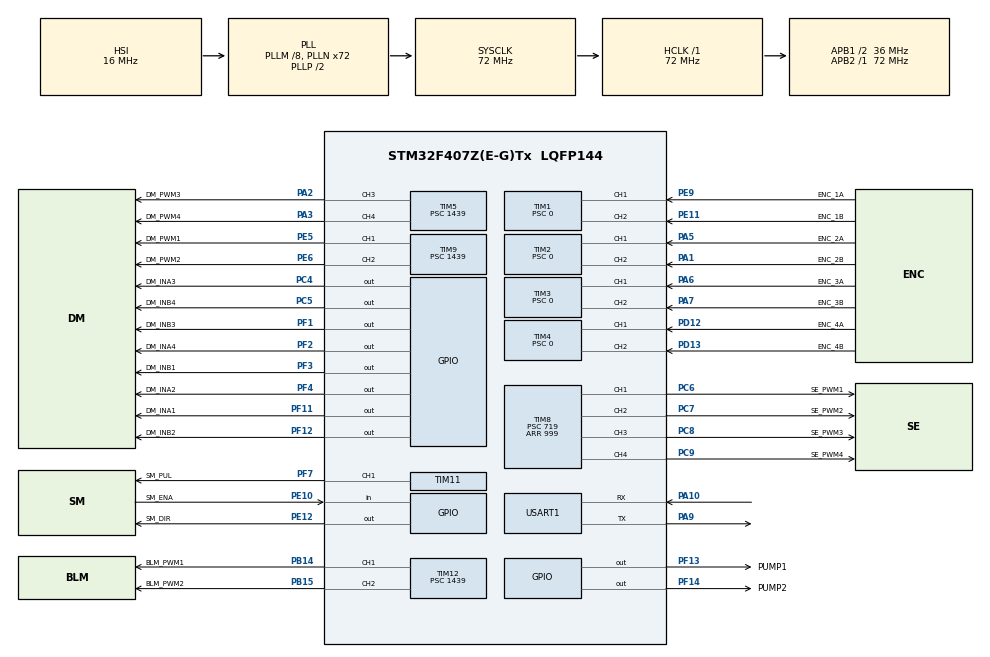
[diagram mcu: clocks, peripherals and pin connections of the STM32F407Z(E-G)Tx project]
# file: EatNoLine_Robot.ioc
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Mcu.Family=STM32F4
Mcu.Name=STM32F407Z(E-G)Tx
Mcu.Package=LQFP144
NVIC.PriorityGroup=NVIC_PRIORITYGROUP_4
NVIC.TIM1_BRK_TIM9_IRQn=true\:2\:0\:true\:false\:true\:true\:true\:true
NVIC.TIM1_CC_IRQn=true\:2\:0\:true\:false\:true\:true\:true\:true
NVIC.TIM1_TRG_COM_TIM11_IRQn=true\:2\:0\:true\:false\:true\:true\:true\:true
NVIC.TIM1_UP_TIM10_IRQn=true\:2\:0\:true\:false\:true\:true\:true\:true
NVIC.TIM2_IRQn=true\:2\:0\:true\:false\:true\:true\:true\:true
NVIC.TIM3_IRQn=true\:2\:0\:true\:false\:true\:true\:true\:true
NVIC.TIM4_IRQn=true\:2\:0\:true\:false\:true\:true\:true\:true
NVIC.TIM5_IRQn=true\:0\:0\:false\:false\:true\:true\:true\:true
NVIC.TIM8_BRK_TIM12_IRQn=true\:2\:0\:true\:false\:true\:true\:true\:true
NVIC.TIM8_CC_IRQn=true\:2\:0\:true\:false\:true\:true\:true\:true
NVIC.TIM8_TRG_COM_TIM14_IRQn=true\:2\:0\:true\:false\:true\:true\:true\:true
NVIC.TIM8_UP_TIM13_IRQn=true\:2\:0\:true\:false\:true\:true\:true\:true
NVIC.USART1_IRQn=true\:2\:0\:true\:false\:true\:true\:true\:true
PA1.GPIO_Label=ENC_2B
PA1.GPIO_Speed=GPIO_SPEED_FREQ_HIGH
PA1.Signal=S_TIM2_CH2
PA10.Mode=Asynchronous
PA10.Signal=USART1_RX
PA13.Mode=Serial_Wire
PA13.Signal=SYS_JTMS-SWDIO
PA14.Mode=Serial_Wire
PA14.Signal=SYS_JTCK-SWCLK
PA2.GPIO_Label=DM_PWM3
PA2.Signal=S_TIM5_CH3
PA3.GPIO_Label=DM_PWM4
PA3.GPIO_Speed=GPIO_SPEED_FREQ_HIGH
PA3.Signal=S_TIM5_CH4
PA5.GPIO_Label=ENC_2A
PA5.GPIO_Speed=GPIO_SPEED_FREQ_HIGH
PA5.Signal=S_TIM2_CH1_ETR
PA6.GPIO_Label=ENC_3A
PA6.GPIO_Speed=GPIO_SPEED_FREQ_HIGH
PA6.Signal=S_TIM3_CH1
PA7.GPIO_Label=ENC_3B
PA7.GPIO_Speed=GPIO_SPEED_FREQ_HIGH
PA7.Signal=S_TIM3_CH2
PA9.Mode=Asynchronous
PA9.Signal=USART1_TX
PB14.GPIO_Label=BLM_PWM1
PB14.Signal=S_TIM12_CH1
PB15.GPIO_Label=BLM_PWM2
PB15.Signal=S_TIM12_CH2
PC14-OSC32_IN.Mode=LSE-External-Clock-Source
PC14-OSC32_IN.Signal=RCC_OSC32_IN
PC15-OSC32_OUT.Mode=LSE-External-Clock-Source
PC15-OSC32_OUT.Signal=RCC_OSC32_OUT
PC4.GPIO_Label=DM_INA3
PC4.GPIO_Speed=GPIO_SPEED_FREQ_HIGH
PC4.Signal=GPIO_Output
PC5.GPIO_Label=DM_INB4
PC5.GPIO_Speed=GPIO_SPEED_FREQ_HIGH
PC5.Signal=GPIO_Output
PC6.GPIO_Label=SE_PWM1
PC6.GPIO_Speed=GPIO_SPEED_FREQ_HIGH
PC6.Signal=S_TIM8_CH1
PC7.GPIO_Label=SE_PWM2
PC7.GPIO_Speed=GPIO_SPEED_FREQ_HIGH
PC7.Signal=S_TIM8_CH2
PC8.GPIO_Label=SE_PWM3
PC8.GPIO_Speed=GPIO_SPEED_FREQ_HIGH
PC8.Signal=S_TIM8_CH3
PC9.GPIO_Label=SE_PWM4
PC9.GPIO_Speed=GPIO_SPEED_FREQ_HIGH
PC9.Signal=S_TIM8_CH4
PD12.GPIO_Label=ENC_4A
PD12.GPIO_Speed=GPIO_SPEED_FREQ_HIGH
PD12.Signal=S_TIM4_CH1
PD13.GPIO_Label=ENC_4B
PD13.GPIO_Speed=GPIO_SPEED_FREQ_HIGH
PD13.Signal=S_TIM4_CH2
PE10.GPIO_Label=SM_ENA
PE10.Signal=GPIO_Input
PE11.GPIO_Label=ENC_1B
PE11.GPIO_Speed=GPIO_SPEED_FREQ_HIGH
PE11.Signal=S_TIM1_CH2
PE12.GPIO_Label=SM_DIR
PE12.Signal=GPIO_Output
PE5.GPIO_Label=DM_PWM1
PE5.Signal=S_TIM9_CH1
PE6.GPIO_Label=DM_PWM2
PE6.GPIO_Speed=GPIO_SPEED_FREQ_HIGH
PE6.Signal=S_TIM9_CH2
PE9.GPIO_Label=ENC_1A
PE9.GPIO_Speed=GPIO_SPEED_FREQ_HIGH
PE9.Signal=S_TIM1_CH1
PF1.GPIO_Label=DM_INB3
PF1.GPIO_Speed=GPIO_SPEED_FREQ_HIGH
PF1.Signal=GPIO_Output
PF11.GPIO_Label=DM_INA1
PF11.GPIO_Speed=GPIO_SPEED_FREQ_HIGH
PF11.Signal=GPIO_Output
PF12.GPIO_Label=DM_INB2
PF12.GPIO_Speed=GPIO_SPEED_FREQ_HIGH
PF12.Signal=GPIO_Output
PF13.GPIO_Label=PUMP1
PF13.Signal=GPIO_Output
PF14.GPIO_Label=PUMP2
PF14.Signal=GPIO_Output
PF2.GPIO_Label=DM_INA4
PF2.GPIO_Speed=GPIO_SPEED_FREQ_HIGH
PF2.Signal=GPIO_Output
PF3.GPIO_Label=DM_INB1
PF3.GPIO_Speed=GPIO_SPEED_FREQ_HIGH
PF3.Signal=GPIO_Output
PF4.GPIO_Label=DM_INA2
PF4.GPIO_Speed=GPIO_SPEED_FREQ_HIGH
PF4.Signal=GPIO_Output
PF7.GPIO_Label=SM_PUL
PF7.GPIO_Speed=GPIO_SPEED_FREQ_HIGH
PF7.Signal=S_TIM11_CH1
PH0-OSC_IN.Mode=HSE-External-Clock-Source
PH0-OSC_IN.Signal=RCC_OSC_IN
PH1-OSC_OUT.Mode=HSE-External-Clock-Source
PH1-OSC_OUT.Signal=RCC_OSC_OUT
ProjectManager.HeapSize=0x200
ProjectManager.StackSize=0x400
ProjectManager.TargetToolchain=CMake
RCC.48MHZClocksFreq_Value=36000000
RCC.AHBFreq_Value=72000000
RCC.APB1CLKDivider=RCC_HCLK_DIV2
RCC.APB1Freq_Value=36000000
RCC.APB1TimFreq_Value=72000000
RCC.APB2Freq_Value=72000000
RCC.APB2TimFreq_Value=72000000
RCC.CortexFreq_Value=72000000
RCC.HCLKFreq_Value=72000000
RCC.HSE_VALUE=8000000
RCC.HSI_VALUE=16000000
RCC.LSE_VALUE=32768
RCC.PLLM=8
RCC.PLLN=72
RCC.SYSCLKFreq_VALUE=72000000
RCC.SYSCLKSource=RCC_SYSCLKSOURCE_PLLCLK
RCC.VCOOutputFreq_Value=144000000
SH.S_TIM11_CH1.0=TIM11_CH1,PWM Generation1 CH1
SH.S_TIM12_CH1.0=TIM12_CH1,PWM Generation1 CH1
SH.S_TIM12_CH2.0=TIM12_CH2,PWM Generation2 CH2
SH.S_TIM1_CH1.0=TIM1_CH1,Encoder_Interface
SH.S_TIM1_CH2.0=TIM1_CH2,Encoder_Interface
SH.S_TIM2_CH1_ETR.0=TIM2_CH1,Encoder_Interface
SH.S_TIM2_CH2.0=TIM2_CH2,Encoder_Interface
SH.S_TIM3_CH1.0=TIM3_CH1,Encoder_Interface
SH.S_TIM3_CH2.0=TIM3_CH2,Encoder_Interface
SH.S_TIM4_CH1.0=TIM4_CH1,Encoder_Interface
SH.S_TIM4_CH2.0=TIM4_CH2,Encoder_Interface
SH.S_TIM5_CH3.0=TIM5_CH3,PWM Generation3 CH3
SH.S_TIM5_CH4.0=TIM5_CH4,PWM Generation4 CH4
SH.S_TIM8_CH1.0=TIM8_CH1,PWM Generation1 CH1
SH.S_TIM8_CH2.0=TIM8_CH2,PWM Generation2 CH2
SH.S_TIM8_CH3.0=TIM8_CH3,PWM Generation3 CH3
SH.S_TIM8_CH4.0=TIM8_CH4,PWM Generation4 CH4
SH.S_TIM9_CH1.0=TIM9_CH1,PWM Generation1 CH1
SH.S_TIM9_CH2.0=TIM9_CH2,PWM Generation2 CH2
TIM1.EncoderMode=TIM_ENCODERMODE_TI12
TIM1.IC1Filter=5
TIM1.IC2Filter=5
TIM1.Period=9999
TIM1.Prescaler=0
TIM11.Channel=TIM_CHANNEL_1
TIM11.Period=199
TIM11.Prescaler=23
TIM12.Channel-PWM\ Generation1\ CH1=TIM_CHANNEL_1
TIM12.Channel-PWM\ Generation2\ CH2=TIM_CHANNEL_2
TIM12.Period=999
TIM12.Prescaler=1439
TIM14.Period=999
TIM14.Prescaler=7199
TIM2.EncoderMode=TIM_ENCODERMODE_TI12
TIM2.IC1Filter=5
TIM2.IC2Filter=5
TIM2.Period=9999
TIM2.Prescaler=0
TIM3.EncoderMode=TIM_ENCODERMODE_TI12
TIM3.IC1Filter=5
TIM3.IC2Filter=5
TIM3.Period=9999
TIM3.Prescaler=0
TIM4.EncoderMode=TIM_ENCODERMODE_TI12
TIM4.IC1Filter=5
TIM4.IC2Filter=5
TIM4.Period=9999
TIM4.Prescaler=0
TIM5.Channel-PWM\ Generation3\ CH3=TIM_CHANNEL_3
TIM5.Channel-PWM\ Generation4\ CH4=TIM_CHANNEL_4
TIM5.Period=999
TIM5.Prescaler=1439
TIM8.Channel-PWM\ Generation1\ CH1=TIM_CHANNEL_1
TIM8.Channel-PWM\ Generation2\ CH2=TIM_CHANNEL_2
TIM8.Channel-PWM\ Generation3\ CH3=TIM_CHANNEL_3
TIM8.Channel-PWM\ Generation4\ CH4=TIM_CHANNEL_4
TIM8.Period=999
TIM8.Prescaler=719
TIM9.Channel-PWM\ Generation1\ CH1=TIM_CHANNEL_1
TIM9.Channel-PWM\ Generation2\ CH2=TIM_CHANNEL_2
TIM9.Period=999
TIM9.Prescaler=1439
USART1.VirtualMode=VM_ASYNC
VP_TIM11_VS_ClockSourceINT.Mode=Enable_Timer
VP_TIM12_VS_ClockSourceINT.Mode=Internal
VP_TIM14_VS_ClockSourceINT.Mode=Enable_Timer
VP_TIM5_VS_ClockSourceINT.Mode=Internal
VP_TIM8_VS_ClockSourceINT.Mode=Internal
VP_TIM9_VS_ClockSourceINT.Mode=Internal
board=custom

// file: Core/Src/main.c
/* USER CODE BEGIN Header */
/**
 ******************************************************************************
 * @file           : main.c
 * @brief          : Main program body
 ******************************************************************************
 * @attention
 *
 * Copyright (c) 2024 STMicroelectronics.
 * All rights reserved.
 *
 * This software is licensed under terms that can be found in the LICENSE file
 * in the root directory of this software component.
 * If no LICENSE file comes with this software, it is provided AS-IS.
 *
 ******************************************************************************
 */
/* USER CODE END Header */
#include "main.h"
#include "tim.h"
#include "usart.h"
#include "gpio.h"

/* USER CODE BEGIN Includes */
#include <stdio.h>
#include <vofa.h>

#include "arm_control.h"
#include "bldc_control.h"
#include "communicate.h"
#include "motor_control.h"
#include "pump_control.h"
#include "step_control.h"
// #include "pid.h"
/* USER CODE END Includes */

/* USER CODE BEGIN PD */
#ifdef __GNUC__
#define PUTCHAR_PROTOTYPE int __io_putchar(int ch)
#define GETCHAR_PROTOTYPE int __io_getchar(void)
#else
#define PUTCHAR_PROTOTYPE int fputc(int ch, FILE *f)
#define GETCHAR_PROTOTYPE int fgetc(FILE *f)
#endif

#define RXBUFFERSIZE 256
/* USER CODE END PD */

/* USER CODE BEGIN PV */

// serial community
char RxBuffer[RXBUFFERSIZE];
/* USER CODE END PV */

void SystemClock_Config(void);

int main(void)
{

  /* MCU Configuration--------------------------------------------------------*/

  /* Reset of all peripherals, Initializes the Flash interface and the Systick. */
  HAL_Init();

  /* Configure the system clock */
  SystemClock_Config();

  /* Initialize all configured peripherals */
  MX_GPIO_Init();
  MX_USART1_UART_Init();
  MX_TIM1_Init();
  MX_TIM2_Init();
  MX_TIM3_Init();
  MX_TIM4_Init();
  MX_TIM8_Init();
  MX_TIM11_Init();
  MX_TIM5_Init();
  MX_TIM9_Init();
  MX_TIM14_Init();
  MX_TIM12_Init();
  /* USER CODE BEGIN 2 */
  setvbuf(stdin, NULL, _IONBF, 0);

  // Initialize all devices
  Step_Init();
  Arm_Init();
  Pump_Init();
  BLDC_Init();
  Motor_Init();

  /* USER CODE END 2 */

  /* Infinite loop */
  while (1) {

    /* USER CODE BEGIN 3 */
    // Com_ExecCommand();
    // printf("hello\n");
    Vofa_Communicate();
  }
  /* USER CODE END 3 */
}

void SystemClock_Config(void)
{
  RCC_OscInitTypeDef RCC_OscInitStruct = {0};
  RCC_ClkInitTypeDef RCC_ClkInitStruct = {0};

  /** Configure the main internal regulator output voltage
  */
  __HAL_RCC_PWR_CLK_ENABLE();
  __HAL_PWR_VOLTAGESCALING_CONFIG(PWR_REGULATOR_VOLTAGE_SCALE1);

  /** Initializes the RCC Oscillators according to the specified parameters
  * in the RCC_OscInitTypeDef structure.
  */
  RCC_OscInitStruct.OscillatorType = RCC_OSCILLATORTYPE_HSI;
  RCC_OscInitStruct.HSIState = RCC_HSI_ON;
  RCC_OscInitStruct.HSICalibrationValue = RCC_HSICALIBRATION_DEFAULT;
  RCC_OscInitStruct.PLL.PLLState = RCC_PLL_ON;
  RCC_OscInitStruct.PLL.PLLSource = RCC_PLLSOURCE_HSI;
  RCC_OscInitStruct.PLL.PLLM = 8;
  RCC_OscInitStruct.PLL.PLLN = 72;
  RCC_OscInitStruct.PLL.PLLP = RCC_PLLP_DIV2;
  RCC_OscInitStruct.PLL.PLLQ = 4;
  if (HAL_RCC_OscConfig(&RCC_OscInitStruct) != HAL_OK)
  {
    Error_Handler();
  }

  /** Initializes the CPU, AHB and APB buses clocks
  */
  RCC_ClkInitStruct.ClockType = RCC_CLOCKTYPE_HCLK|RCC_CLOCKTYPE_SYSCLK
                              |RCC_CLOCKTYPE_PCLK1|RCC_CLOCKTYPE_PCLK2;
  RCC_ClkInitStruct.SYSCLKSource = RCC_SYSCLKSOURCE_PLLCLK;
  RCC_ClkInitStruct.AHBCLKDivider = RCC_SYSCLK_DIV1;
  RCC_ClkInitStruct.APB1CLKDivider = RCC_HCLK_DIV2;
  RCC_ClkInitStruct.APB2CLKDivider = RCC_HCLK_DIV1;

  if (HAL_RCC_ClockConfig(&RCC_ClkInitStruct, FLASH_LATENCY_2) != HAL_OK)
  {
    Error_Handler();
  }
}

/* USER CODE BEGIN 4 */
PUTCHAR_PROTOTYPE {
  HAL_UART_Transmit(&huart1, (uint8_t *)&ch, 1, HAL_MAX_DELAY);
  return ch;
}

GETCHAR_PROTOTYPE {
  uint8_t ch = 0;
  __HAL_UART_CLEAR_OREFLAG(&huart1);
  HAL_UART_Receive(&huart1, &ch, 1, HAL_MAX_DELAY);
  return ch;
}
/* USER CODE END 4 */

void Error_Handler(void)
{
  __disable_irq();
  while (1) {
  }
}

#ifdef  USE_FULL_ASSERT
/**
  * @brief  Reports the name of the source file and the source line number
  *         where the assert_param error has occurred.
  * @param  file: pointer to the source file name
  * @param  line: assert_param error line source number
  * @retval None
  */
void assert_failed(uint8_t *file, uint32_t line)
{
  /* USER CODE BEGIN 6 */
  /* User can add his own implementation to report the file name and line
     number, ex: printf("Wrong parameters value: file %s on line %d\r\n", file,
     line) */
  /* USER CODE END 6 */
}
#endif /* USE_FULL_ASSERT */
